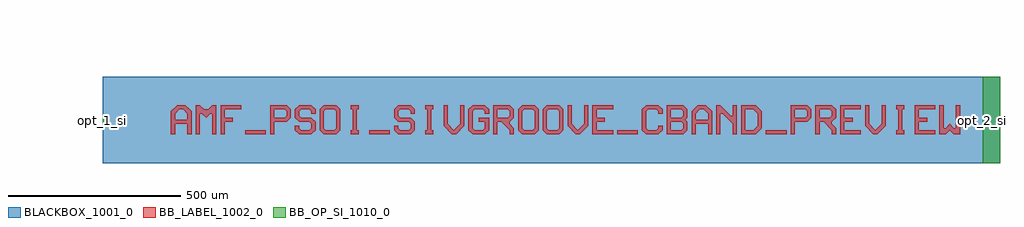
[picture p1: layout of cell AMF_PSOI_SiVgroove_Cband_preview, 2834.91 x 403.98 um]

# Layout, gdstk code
import gdstk
lib = gdstk.Library(unit=1e-6, precision=1e-09)
def R(c, l, rs):  # rectangles x0, y0, x1, y1
    for r in rs: c.add(gdstk.rectangle(r[:2], r[2:], *l))
def P(c, l, *ps):  # polygons
    for p in ps: c.add(gdstk.Polygon(p, *l))
BLACKBOX_1001_0 = (1001, 0)
BB_LABEL_1002_0 = (1002, 0)
BB_OP_SI_1010_0 = (1010, 0)

amf_psoi_sivgroove_cband = lib.new_cell('AMF_PSOI_SiVgroove_Cband_preview')
R(amf_psoi_sivgroove_cband, BLACKBOX_1001_0, [(0,-125,2606,125)])
R(amf_psoi_sivgroove_cband, BB_LABEL_1002_0, [(413.993,-41.249,473.993,-29.249), (773.993,-41.249,833.993,-29.249), (1493.993,-41.249,1553.993,-29.249), (1925.993,-41.249,1985.993,-29.249)])
P(amf_psoi_sivgroove_cband, BB_LABEL_1002_0, [(197.993,-41.249),(197.993,24.751),(215.993,42.751),(239.993,42.751),(251.993,30.751),(221.993,30.751),(209.993,18.751),(209.993,0.751),(245.993,0.751),(245.993,18.751),(233.993,30.751),(251.993,30.751),(257.993,24.751),(257.993,-41.249),(245.993,-41.249),(245.993,-11.249),(209.993,-11.249),(209.993,-41.249)],
  [(269.993,-41.249),(269.993,42.751),(281.993,42.751),(293.993,30.751),(305.993,30.751),(317.993,42.751),(329.993,42.751),(329.993,-41.249),(317.993,-41.249),(317.993,18.751),(311.993,18.751),(299.993,6.751),(287.993,18.751),(281.993,18.751),(281.993,-41.249)],
  [(341.993,-41.249),(341.993,42.751),(401.993,42.751),(401.993,30.751),(353.993,30.751),(353.993,6.751),(377.993,6.751),(377.993,-5.249),(353.993,-5.249),(353.993,-41.249)],
  [(485.993,-41.249),(485.993,42.751),(533.993,42.751),(545.993,30.751),(545.993,6.751),(533.993,-5.249),(497.993,-5.249),(497.993,6.751),(527.993,6.751),(533.993,12.751),(533.993,24.751),(527.993,30.751),(497.993,30.751),(497.993,-41.249)],
  [(569.993,-41.249),(557.993,-29.249),(557.993,-17.249),(569.993,-17.249),(569.993,-23.249),(575.993,-29.249),(599.993,-29.249),(605.993,-23.249),(605.993,-11.249),(599.993,-5.249),(569.993,-5.249),(557.993,6.751),(557.993,30.751),(569.993,42.751),(605.993,42.751),(617.993,30.751),(617.993,18.751),(605.993,18.751),(605.993,24.751),(599.993,30.751),(575.993,30.751),(569.993,24.751),(569.993,12.751),(575.993,6.751),(605.993,6.751),(617.993,-5.249),(617.993,-29.249),(605.993,-41.249)],
  [(641.993,-41.249),(629.993,-29.249),(629.993,30.751),(641.993,42.751),(677.993,42.751),(689.993,30.751),(689.993,0.751),(677.993,0.751),(677.993,24.751),(671.993,30.751),(647.993,30.751),(641.993,24.751),(641.993,-23.249),(647.993,-29.249),(671.993,-29.249),(677.993,-23.249),(677.993,0.751),(689.993,0.751),(689.993,-29.249),(677.993,-41.249)],
  [(719.993,-41.249),(719.993,-29.249),(725.993,-29.249),(725.993,30.751),(719.993,30.751),(719.993,42.751),(743.993,42.751),(743.993,30.751),(737.993,30.751),(737.993,-29.249),(743.993,-29.249),(743.993,-41.249)],
  [(857.993,-41.249),(845.993,-29.249),(845.993,-17.249),(857.993,-17.249),(857.993,-23.249),(863.993,-29.249),(887.993,-29.249),(893.993,-23.249),(893.993,-11.249),(887.993,-5.249),(857.993,-5.249),(845.993,6.751),(845.993,30.751),(857.993,42.751),(893.993,42.751),(905.993,30.751),(905.993,18.751),(893.993,18.751),(893.993,24.751),(887.993,30.751),(863.993,30.751),(857.993,24.751),(857.993,12.751),(863.993,6.751),(893.993,6.751),(905.993,-5.249),(905.993,-29.249),(893.993,-41.249)],
  [(935.993,-41.249),(935.993,-29.249),(941.993,-29.249),(941.993,30.751),(935.993,30.751),(935.993,42.751),(959.993,42.751),(959.993,30.751),(953.993,30.751),(953.993,-29.249),(959.993,-29.249),(959.993,-41.249)],
  [(1013.993,-41.249),(989.993,-17.249),(989.993,42.751),(1001.993,42.751),(1001.993,-11.249),(1019.993,-29.249),(1037.993,-11.249),(1037.993,42.751),(1049.993,42.751),(1049.993,-17.249),(1025.993,-41.249)],
  [(1073.993,-41.249),(1061.993,-29.249),(1061.993,30.751),(1073.993,42.751),(1109.993,42.751),(1121.993,30.751),(1121.993,18.751),(1109.993,18.751),(1109.993,24.751),(1103.993,30.751),(1079.993,30.751),(1073.993,24.751),(1073.993,-23.249),(1079.993,-29.249),(1103.993,-29.249),(1109.993,-23.249),(1109.993,-5.249),(1091.993,-5.249),(1091.993,6.751),(1121.993,6.751),(1121.993,-29.249),(1109.993,-41.249)],
  [(1133.993,-41.249),(1133.993,42.751),(1181.993,42.751),(1193.993,30.751),(1145.993,30.751),(1145.993,6.751),(1175.993,6.751),(1181.993,12.751),(1181.993,24.751),(1175.993,30.751),(1193.993,30.751),(1193.993,6.751),(1181.993,-5.249),(1181.993,-11.249),(1193.993,-23.249),(1193.993,-41.249),(1181.993,-41.249),(1181.993,-29.249),(1157.993,-5.249),(1145.993,-5.249),(1145.993,-41.249)],
  [(1217.993,-41.249),(1205.993,-29.249),(1205.993,30.751),(1217.993,42.751),(1253.993,42.751),(1265.993,30.751),(1265.993,0.751),(1253.993,0.751),(1253.993,24.751),(1247.993,30.751),(1223.993,30.751),(1217.993,24.751),(1217.993,-23.249),(1223.993,-29.249),(1247.993,-29.249),(1253.993,-23.249),(1253.993,0.751),(1265.993,0.751),(1265.993,-29.249),(1253.993,-41.249)],
  [(1289.993,-41.249),(1277.993,-29.249),(1277.993,30.751),(1289.993,42.751),(1325.993,42.751),(1337.993,30.751),(1337.993,0.751),(1325.993,0.751),(1325.993,24.751),(1319.993,30.751),(1295.993,30.751),(1289.993,24.751),(1289.993,-23.249),(1295.993,-29.249),(1319.993,-29.249),(1325.993,-23.249),(1325.993,0.751),(1337.993,0.751),(1337.993,-29.249),(1325.993,-41.249)],
  [(1373.993,-41.249),(1349.993,-17.249),(1349.993,42.751),(1361.993,42.751),(1361.993,-11.249),(1379.993,-29.249),(1397.993,-11.249),(1397.993,42.751),(1409.993,42.751),(1409.993,-17.249),(1385.993,-41.249)],
  [(1421.993,-41.249),(1421.993,42.751),(1481.993,42.751),(1481.993,30.751),(1433.993,30.751),(1433.993,6.751),(1457.993,6.751),(1457.993,-5.249),(1433.993,-5.249),(1433.993,-29.249),(1481.993,-29.249),(1481.993,-41.249)],
  [(1577.993,-41.249),(1565.993,-29.249),(1565.993,30.751),(1577.993,42.751),(1613.993,42.751),(1625.993,30.751),(1625.993,18.751),(1613.993,18.751),(1613.993,24.751),(1607.993,30.751),(1583.993,30.751),(1577.993,24.751),(1577.993,-23.249),(1583.993,-29.249),(1607.993,-29.249),(1613.993,-23.249),(1613.993,-17.249),(1625.993,-17.249),(1625.993,-29.249),(1613.993,-41.249)],
  [(1637.993,-41.249),(1637.993,42.751),(1685.993,42.751),(1697.993,30.751),(1649.993,30.751),(1649.993,6.751),(1679.993,6.751),(1685.993,12.751),(1685.993,24.751),(1679.993,30.751),(1697.993,30.751),(1697.993,6.751),(1691.993,0.751),(1697.993,-5.249),(1649.993,-5.249),(1649.993,-29.249),(1679.993,-29.249),(1685.993,-23.249),(1685.993,-11.249),(1679.993,-5.249),(1697.993,-5.249),(1697.993,-29.249),(1685.993,-41.249)],
  [(1709.993,-41.249),(1709.993,24.751),(1727.993,42.751),(1751.993,42.751),(1763.993,30.751),(1733.993,30.751),(1721.993,18.751),(1721.993,0.751),(1757.993,0.751),(1757.993,18.751),(1745.993,30.751),(1763.993,30.751),(1769.993,24.751),(1769.993,-41.249),(1757.993,-41.249),(1757.993,-11.249),(1721.993,-11.249),(1721.993,-41.249)],
  [(1781.993,-41.249),(1781.993,42.751),(1793.993,42.751),(1823.993,12.751),(1829.993,12.751),(1829.993,42.751),(1841.993,42.751),(1841.993,-41.249),(1829.993,-41.249),(1829.993,-11.249),(1799.993,18.751),(1793.993,18.751),(1793.993,-41.249)],
  [(1853.993,-41.249),(1853.993,42.751),(1895.993,42.751),(1907.993,30.751),(1865.993,30.751),(1865.993,-29.249),(1889.993,-29.249),(1901.993,-17.249),(1901.993,18.751),(1889.993,30.751),(1907.993,30.751),(1913.993,24.751),(1913.993,-23.249),(1895.993,-41.249)],
  [(1997.993,-41.249),(1997.993,42.751),(2045.993,42.751),(2057.993,30.751),(2057.993,6.751),(2045.993,-5.249),(2009.993,-5.249),(2009.993,6.751),(2039.993,6.751),(2045.993,12.751),(2045.993,24.751),(2039.993,30.751),(2009.993,30.751),(2009.993,-41.249)],
  [(2069.993,-41.249),(2069.993,42.751),(2117.993,42.751),(2129.993,30.751),(2081.993,30.751),(2081.993,6.751),(2111.993,6.751),(2117.993,12.751),(2117.993,24.751),(2111.993,30.751),(2129.993,30.751),(2129.993,6.751),(2117.993,-5.249),(2117.993,-11.249),(2129.993,-23.249),(2129.993,-41.249),(2117.993,-41.249),(2117.993,-29.249),(2093.993,-5.249),(2081.993,-5.249),(2081.993,-41.249)],
  [(2141.993,-41.249),(2141.993,42.751),(2201.993,42.751),(2201.993,30.751),(2153.993,30.751),(2153.993,6.751),(2177.993,6.751),(2177.993,-5.249),(2153.993,-5.249),(2153.993,-29.249),(2201.993,-29.249),(2201.993,-41.249)],
  [(2237.993,-41.249),(2213.993,-17.249),(2213.993,42.751),(2225.993,42.751),(2225.993,-11.249),(2243.993,-29.249),(2261.993,-11.249),(2261.993,42.751),(2273.993,42.751),(2273.993,-17.249),(2249.993,-41.249)],
  [(2303.993,-41.249),(2303.993,-29.249),(2309.993,-29.249),(2309.993,30.751),(2303.993,30.751),(2303.993,42.751),(2327.993,42.751),(2327.993,30.751),(2321.993,30.751),(2321.993,-29.249),(2327.993,-29.249),(2327.993,-41.249)],
  [(2357.993,-41.249),(2357.993,42.751),(2417.993,42.751),(2417.993,30.751),(2369.993,30.751),(2369.993,6.751),(2393.993,6.751),(2393.993,-5.249),(2369.993,-5.249),(2369.993,-29.249),(2417.993,-29.249),(2417.993,-41.249)],
  [(2429.993,-41.249),(2429.993,42.751),(2441.993,42.751),(2441.993,-23.249),(2447.993,-23.249),(2459.993,-11.249),(2471.993,-23.249),(2477.993,-23.249),(2477.993,42.751),(2489.993,42.751),(2489.993,-41.249),(2471.993,-41.249),(2459.993,-29.249),(2447.993,-41.249)])
R(amf_psoi_sivgroove_cband, BB_OP_SI_1010_0, [(2556,-125,2606,125), (0,-12,10,12)])
P(amf_psoi_sivgroove_cband, BB_OP_SI_1010_0, [(-228.906,269.441),(-228.906,269.441),(-228.906,269.441),(-228.906,269.441)],
  [(-219.368,278.979),(-219.368,278.979),(-219.368,278.979),(-219.368,278.979)])
amf_psoi_sivgroove_cband.add(gdstk.Label('opt_1_si', (0,0), layer=1010, texttype=0))
amf_psoi_sivgroove_cband.add(gdstk.Label('opt_2_si', (2556,0), layer=1010, texttype=0))

lib.write_gds('AMF_PSOI_SiVgroove_Cband_preview.gds')
